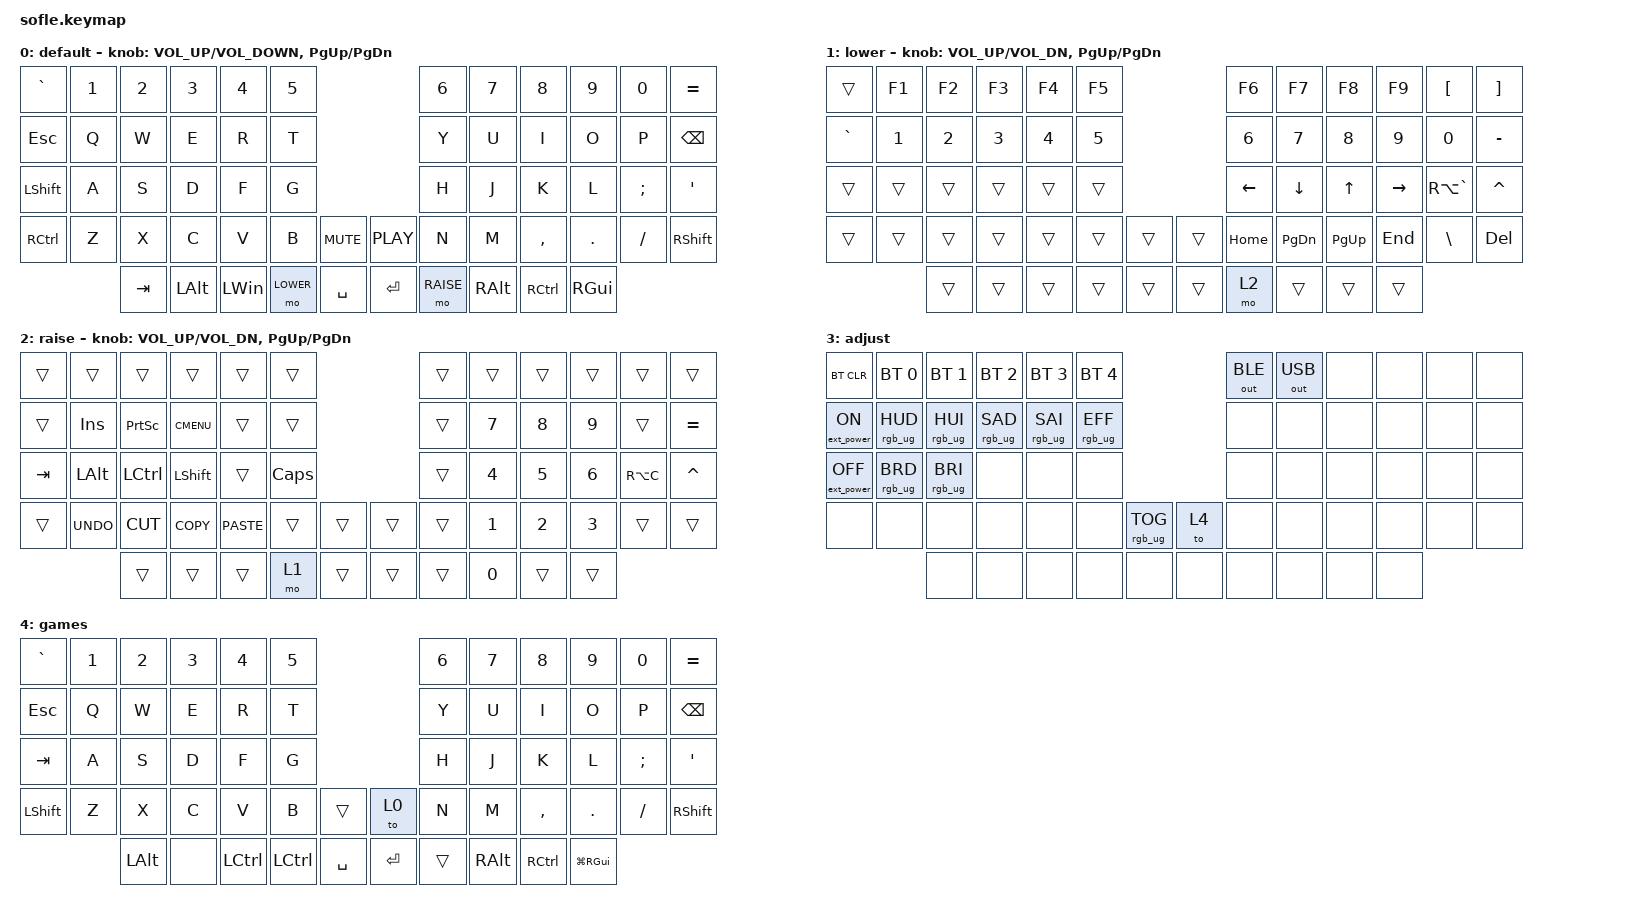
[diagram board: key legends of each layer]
/*
 * Copyright (c) 2020 The ZMK Contributors
 *
 * SPDX-License-Identifier: MIT
 */

#include <dt-bindings/zmk/mouse.h>
#include <behaviors.dtsi>
#include <dt-bindings/zmk/bt.h>
#include <dt-bindings/zmk/ext_power.h>
#include <dt-bindings/zmk/keys.h>
#include <dt-bindings/zmk/outputs.h>
#include <dt-bindings/zmk/rgb.h>

#define BASE 0
#define LOWER 1
#define RAISE 2
#define ADJUST 3

&mt {
    flavor = "tap-preferred";
    quick-tap-ms = <200>;
    require-prior-idle-ms = <125>;
};

/ {
    // Activate ADJUST layer by pressing raise and lower

    conditional_layers {
        compatible = "zmk,conditional-layers";

        adjust_layer {
            if-layers = <LOWER RAISE>;
            then-layer = <ADJUST>;
        };
    };

    combos {
        compatible = "zmk,combos";

        lalt {
            bindings = <&kp LEFT_ALT>;
            key-positions = <27 28>;
        };

        lshift {
            bindings = <&kp LEFT_SHIFT>;
            key-positions = <25 26>;
        };

        lctrl {
            bindings = <&kp LCTRL>;
            key-positions = <26 27>;
        };

        lgui {
            bindings = <&kp LEFT_GUI>;
            key-positions = <28 29>;
        };

        rshift {
            bindings = <&kp RSHIFT>;
            key-positions = <33 34>;
        };

        rctrl {
            bindings = <&kp RCTRL>;
            key-positions = <32 33>;
        };

        ralt {
            bindings = <&kp LALT>;
            key-positions = <31 32>;
        };

        rgui {
            bindings = <&kp RGUI>;
            key-positions = <30 31>;
        };
    };

    keymap {
        compatible = "zmk,keymap";

        default_layer {
            display-name = "default";

            // ------------------------------------------------------------------------------------------------------------
            // |   `   |  1  |  2  |  3   |  4   |  5   |                   |  6   |  7    |  8    |  9   |   0   |       |
            // |  ESC  |  Q  |  W  |  E   |  R   |  T   |                   |  Y   |  U    |  I    |  O   |   P   | BKSPC |
            // |  TAB  |  A  |  S  |  D   |  F   |  G   |                   |  H   |  J    |  K    |  L   |   ;   |   '   |
            // | SHIFT |  Z  |  X  |  C   |  V   |  B   |  MUTE  |  |       |  N   |  M    |  ,    |  .   |   /   | SHIFT |
            //               | GUI | ALT  | CTRL | LOWER|  ENTER |  | SPACE | RAISE| CTRL  | ALT   | GUI  |

            bindings = <
&kp GRAVE       &kp N1  &kp N2   &kp N3    &kp N4        &kp N5                               &kp N6     &kp N7    &kp N8     &kp N9    &kp N0         &kp EQUAL
&kp ESC         &kp Q   &kp W    &kp E     &kp R         &kp T                                &kp Y      &kp U     &kp I      &kp O     &kp P          &kp BSPC
&kp LEFT_SHIFT  &kp A   &kp S    &kp D     &kp F         &kp G                                &kp H      &kp J     &kp K      &kp L     &kp SEMICOLON  &kp SQT
&kp RCTRL       &kp Z   &kp X    &kp C     &kp V         &kp B      &kp C_MUTE    &kp C_PLAY  &kp N      &kp M     &kp COMMA  &kp DOT   &kp FSLH       &kp RSHFT
                        &kp TAB  &kp LALT  &kp LEFT_WIN  &mo LOWER  &kp SPACE     &kp ENTER   &mo RAISE  &kp RALT  &kp RCTRL  &kp RGUI
            >;

            sensor-bindings =
                <&inc_dec_kp C_VOLUME_UP C_VOLUME_DOWN>,
                <&inc_dec_kp PG_UP PG_DN>;
        };

        lower_layer {
            display-name = "lower";

            // TODO: Some binds are waiting for shifted keycode support.
            // ------------------------------------------------------------------------------------------------------------
            // |       |  F1 |  F2 |  F3  |  F4  |  F5  |                   |  F6  |  F7   |  F8   |  F9  |  F10  |  F11  |
            // |   `   |  1  |  2  |  3   |  4   |  5   |                   |  6   |  7    |  8    |  9   |   0   |  F12  |
            // |       |  !  |  @  |  #   |  $   |  %   |                   |  ^   |  &    |  *    |  (   |   )   |   |   |
            // |       |  =  |  -  |  +   |  {   |  }   |        |  |       |  [   |  ]    |  ;    |  :   |   \   |       |
            //               |     |      |      |      |        |  |       |      |       |       |      |

            bindings = <
&trans     &kp F1        &kp F2        &kp F3        &kp F4        &kp F5                    &kp F6        &kp F7         &kp F8       &kp F9     &kp LEFT_BRACKET  &kp RIGHT_BRACKET
&kp GRAVE  &kp NUMBER_1  &kp NUMBER_2  &kp NUMBER_3  &kp NUMBER_4  &kp N5                    &kp NUMBER_6  &kp N7         &kp N8       &kp N9     &kp N0            &kp MINUS
&trans     &trans        &trans        &trans        &trans        &trans                    &kp LEFT      &kp DOWN       &kp UP       &kp RIGHT  &kp RA(GRAVE)     &kp CARET
&trans     &trans        &trans        &trans        &trans        &trans  &trans    &trans  &kp HOME      &kp PAGE_DOWN  &kp PAGE_UP  &kp END    &kp BACKSLASH     &kp DELETE
                         &trans        &trans        &trans        &trans  &trans    &trans  &mo 2         &trans         &trans       &trans
            >;

            sensor-bindings = <&inc_dec_kp C_VOL_UP C_VOL_DN &inc_dec_kp PG_UP PG_DN>;
        };

        raise_layer {
            display-name = "raise";

            // ------------------------------------------------------------------------------------------------------------
            // | BTCLR | BT1  | BT2  |  BT3  |  BT4  |  BT5 |                |      |      |       |      |       |       |
            // |       | INS  | PSCR | GUI   |       |      |                | PGUP |      |   ^   |      |       |       |
            // |       | ALT  | CTRL | SHIFT |       | CAPS |                | PGDN |   <- |   v   |  ->  |  DEL  | BKSPC |
            // |       | UNDO | CUT  | COPY  | PASTE |      |      |  |      |      |      |       |      |       |       |
            //                |      |       |       |      |      |  |      |      |      |       |      |

            bindings = <
&trans   &trans      &trans     &trans       &trans       &trans                      &trans  &trans  &trans  &trans  &trans     &trans
&trans   &kp INS     &kp PSCRN  &kp K_CMENU  &trans       &trans                      &trans  &kp N7  &kp N8  &kp N9  &trans     &kp EQUAL
&kp TAB  &kp LALT    &kp LCTRL  &kp LSHFT    &trans       &kp CLCK                    &trans  &kp N4  &kp N5  &kp N6  &kp RA(C)  &kp CARET
&trans   &kp K_UNDO  &kp K_CUT  &kp K_COPY   &kp K_PASTE  &trans    &trans    &trans  &trans  &kp N1  &kp N2  &kp N3  &trans     &trans
                     &trans     &trans       &trans       &mo 1     &trans    &trans  &trans  &kp N0  &trans  &trans
            >;

            sensor-bindings = <&inc_dec_kp C_VOL_UP C_VOL_DN &inc_dec_kp PG_UP PG_DN>;
        };

        adjust_layer {
            // ----------------------------------------------------------------------------------------------------------------------------
            // | BTCLR  |  BT1    |  BT2    |   BT3   |   BT4   |   BT5   |                  |      |      |       |      |       |       |
            // | EXTPWR | RGB_HUD | RGB_HUI | RGB_SAD | RGB_SAI | RGB_EFF |                  |      |      |       |      |       |       |
            // |        | RGB_BRD | RGB_BRI |         |         |         |                  |      |      |       |      |       |       |
            // |        |         |         |         |         |         | RGB_TOG | |      |      |      |       |      |       |       |
            //                    |         |         |         |         |         | |      |      |      |       |      |

            display-name = "adjust";
            bindings = <
&bt BT_CLR         &bt BT_SEL 0     &bt BT_SEL 1     &bt BT_SEL 2     &bt BT_SEL 3     &bt BT_SEL 4                               &out OUT_BLE  &out OUT_USB  &none  &none  &none  &none
&ext_power EP_ON   &rgb_ug RGB_HUD  &rgb_ug RGB_HUI  &rgb_ug RGB_SAD  &rgb_ug RGB_SAI  &rgb_ug RGB_EFF                            &none         &none         &none  &none  &none  &none
&ext_power EP_OFF  &rgb_ug RGB_BRD  &rgb_ug RGB_BRI  &none            &none            &none                                      &none         &none         &none  &none  &none  &none
&none              &none            &none            &none            &none            &none            &rgb_ug RGB_TOG    &to 4  &none         &none         &none  &none  &none  &none
                                    &none            &none            &none            &none            &none              &none  &none         &none         &none  &none
            >;
        };

        games {
            bindings = <
&kp GRAVE  &kp N1  &kp N2    &kp N3  &kp N4     &kp N5                                  &kp N6  &kp N7    &kp N8     &kp N9        &kp N0    &kp EQUAL
&kp ESC    &kp Q   &kp W     &kp E   &kp R      &kp T                                   &kp Y   &kp U     &kp I      &kp O         &kp P     &kp BSPC
&kp TAB    &kp A   &kp S     &kp D   &kp F      &kp G                                   &kp H   &kp J     &kp K      &kp L         &kp SEMI  &kp SQT
&kp LSHFT  &kp Z   &kp X     &kp C   &kp V      &kp B             &trans       &to 0    &kp N   &kp M     &kp COMMA  &kp DOT       &kp FSLH  &kp RSHFT
                   &kp LALT  &none   &kp LCTRL  &kp LEFT_CONTROL  &kp SPACE    &kp RET  &trans  &kp RALT  &kp RCTRL  &kp LG(RGUI)
            >;
        };
    };
};
